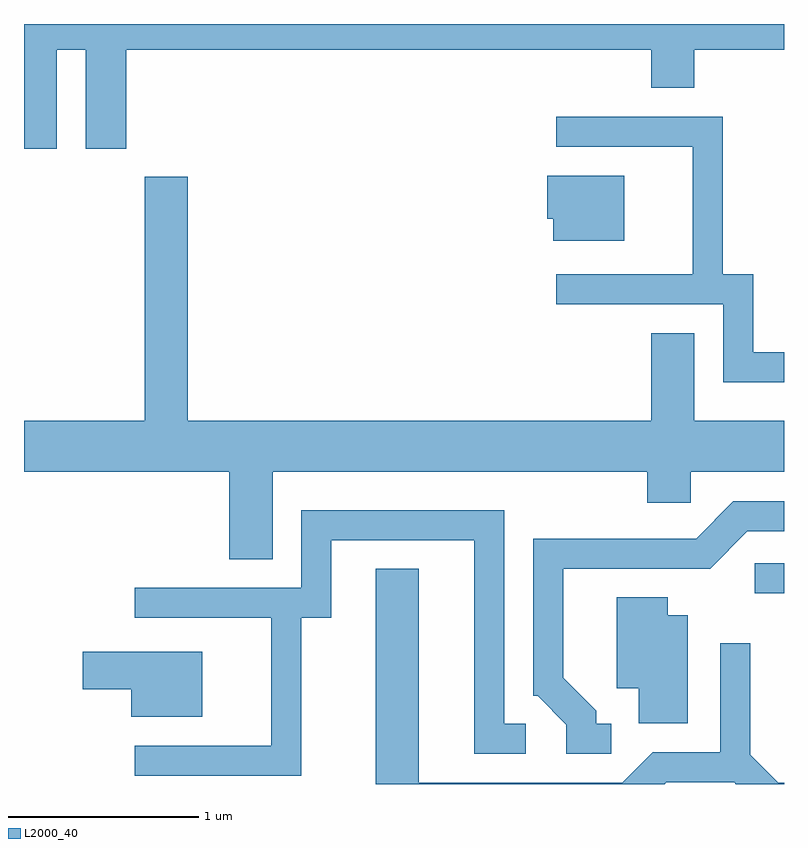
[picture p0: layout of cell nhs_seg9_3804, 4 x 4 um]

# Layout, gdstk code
import gdstk
lib = gdstk.Library(unit=1e-6, precision=1e-09)
def R(c, l, rs):  # rectangles x0, y0, x1, y1
    for r in rs: c.add(gdstk.rectangle(r[:2], r[2:], *l))
def P(c, l, *ps):  # polygons
    for p in ps: c.add(gdstk.Polygon(p, *l))
L2000_40 = (2000, 40)

nhs_seg9_3804 = lib.new_cell('nhs_seg9_3804')
R(nhs_seg9_3804, L2000_40, [(301.458,1953.436,301.611,1953.594)])
P(nhs_seg9_3804, L2000_40, [(297.784,1956.296),(297.936,1956.296),(297.936,1955.776),(298.149,1955.776),(298.149,1956.296),(300.911,1956.296),(300.911,1956.096),(301.139,1956.096),(301.139,1956.296),(301.611,1956.296),(301.611,1956.432),(297.611,1956.432),(297.611,1955.776),(297.784,1955.776)],
  [(301.611,1954.704),(301.449,1954.704),(301.449,1955.114),(301.289,1955.114),(301.289,1955.944),(300.413,1955.944),(300.413,1955.786),(301.131,1955.786),(301.131,1955.114),(300.413,1955.114),(300.413,1954.956),(301.291,1954.956),(301.291,1954.546),(301.611,1954.546)],
  [(300.769,1955.634),(300.366,1955.634),(300.366,1955.406),(300.396,1955.406),(300.396,1955.291),(300.769,1955.291)],
  [(298.919,1954.076),(300.891,1954.076),(300.891,1953.911),(301.119,1953.911),(301.119,1954.076),(301.611,1954.076),(301.611,1954.344),(301.139,1954.344),(301.139,1954.804),(300.911,1954.804),(300.911,1954.344),(298.474,1954.344),(298.474,1955.629),(298.246,1955.629),(298.246,1954.344),(297.611,1954.344),(297.611,1954.076),(298.691,1954.076),(298.691,1953.616),(298.919,1953.616)],
  [(300.703,1952.749),(300.624,1952.749),(300.624,1952.817),(300.449,1952.992),(300.449,1953.566),(301.222,1953.566),(301.417,1953.761),(301.611,1953.761),(301.611,1953.919),(301.344,1953.919),(301.149,1953.724),(300.291,1953.724),(300.291,1952.896),(300.314,1952.896),(300.466,1952.744),(300.466,1952.591),(300.703,1952.591)],
  [(299.069,1953.306),(299.229,1953.306),(299.229,1953.716),(299.981,1953.716),(299.981,1952.591),(300.253,1952.591),(300.253,1952.749),(300.139,1952.749),(300.139,1953.874),(299.071,1953.874),(299.071,1953.464),(298.193,1953.464),(298.193,1953.306),(298.911,1953.306),(298.911,1952.634),(298.193,1952.634),(298.193,1952.476),(299.069,1952.476)],
  [(300.992,1952.441),(301.349,1952.441),(301.358,1952.432),(301.611,1952.432),(301.611,1952.439),(301.582,1952.439),(301.434,1952.587),(301.434,1953.173),(301.276,1953.173),(301.276,1952.599),(300.919,1952.599),(300.759,1952.439),(299.689,1952.439),(299.689,1953.564),(299.461,1953.564),(299.461,1952.432),(300.983,1952.432)],
  [(301.104,1953.319),(300.999,1953.319),(300.999,1953.414),(300.731,1953.414),(300.731,1952.936),(300.846,1952.936),(300.846,1952.751),(301.104,1952.751)],
  [(298.549,1953.129),(297.921,1953.129),(297.921,1952.931),(298.176,1952.931),(298.176,1952.786),(298.549,1952.786)])

lib.write_gds('nhs_seg9_3804.gds')
